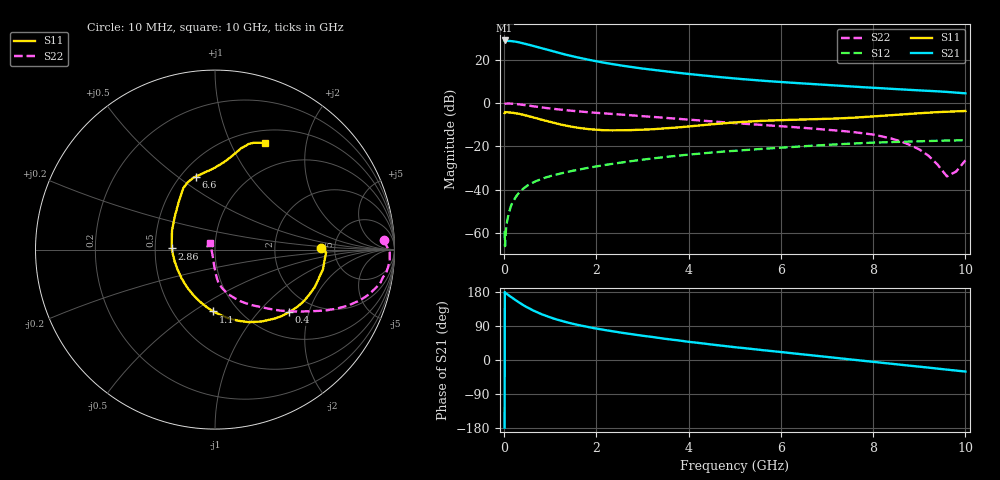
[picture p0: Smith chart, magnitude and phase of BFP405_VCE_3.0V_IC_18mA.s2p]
! Infineon Technologies  Discrete & RF Semiconductors
! BFP405
! VCE =  3.0 V,  IC =  18 mA
! Common Emitter S-Parameters:  Jan 2016
# GHz  S  MA  R  50
!  f  S11  S21  S12  S22
! GHz  MAG  ANG  MAG  ANG  MAG  ANG  MAG  ANG
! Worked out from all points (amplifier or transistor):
!   233 points, 10 MHz to 10 GHz, reference 50 ohm
!   highest |S21| = 28.9 dB at 10 MHz (marker M1)
!   |S21| within 3 dB of that: start of sweep to 712.1 MHz
!   unconditionally stable (mu >= 1): start of sweep to 25.32 MHz; 1.992 GHz to end of sweep
!   at 200 MHz: K = 0.21, MSG = 36.8 dB, |S12| = -45.2 dB
!   at 1.74 GHz: K = 0.93, MSG = 25.3 dB, |S12| = -30.2 dB
!   at 10 GHz: K = 1.36, MAG = 7.2 dB, |S12| = -17.1 dB
!   S11 on the Smith chart (normalised r, x): 10 MHz: 3.89, +0.11; 400 MHz: 1.52, -1.50; 1.1 GHz: 0.77, -0.60; 2.86 GHz: 0.61, +0.01; 6.6 GHz: 0.59, +0.58; 10 GHz: 0.65, +1.36
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0.01  0.5917 0.9  27.79 -178.3  0.0011 92.8  0.9424 3.1
0.02  0.6192 -1.4  27.55 177.2  0.0005 113.2  0.9621 0.6
0.05  0.6137 -5.0  27.21 175.3  0.0015 90.8  0.9732 -0.9
0.1  0.6116 -10.3  27.19 170.5  0.0028 87.7  0.976 -3.4
0.26  0.5785 -27.1  25.94 156.9  0.007 79.4  0.946 -9.8
0.4  0.5405 -40.2  24.16 145.8  0.0103 74.6  0.9118 -14.3
0.5  0.5096 -48.8  22.73 138.9  0.0124 71.9  0.8824 -17.1
0.6  0.4771 -57.1  21.23 132.3  0.0142 69.7  0.8527 -19.5
0.7  0.4473 -64.7  19.84 126.6  0.016 67.9  0.8238 -21.4
0.9  0.3912 -78.7  17.3 116.6  0.0192 65.6  0.7718 -24.7
1.1  0.3445 -91.7  15.15 108.3  0.022 64.0  0.7281 -27.3
1.38  0.2959 -108.6  12.73 98.8  0.0259 62.6  0.6772 -30.2
1.68  0.2625 -125.7  10.78 90.4  0.03 61.5  0.6335 -32.8
2.2  0.2358 -152.9  8.409 78.7  0.0375 59.6  0.5743 -36.9
2.86  0.2399 178.4  6.555 66.5  0.0474 56.3  0.5119 -41.8
3.4  0.2566 159.2  5.541 57.6  0.0556 52.8  0.4637 -46.0
5.1  0.3635 121.0  3.614 32.6  0.0808 40.1  0.3393 -60.9
6.6  0.4205 104.9  2.782 13.2  0.1026 28.4  0.2626 -72.6
6.8  0.4254 101.7  2.694 10.6  0.1055 26.7  0.2526 -74.1
8.4  0.5267 80.0  2.121 -10.0  0.1261 11.8  0.1511 -86.9
9.6  0.6323 70.2  1.807 -25.4  0.1364 1.5  0.0203 -148.8
10  0.656 65.1  1.678 -30.5  0.1392 -1.5  0.0477 124.4
